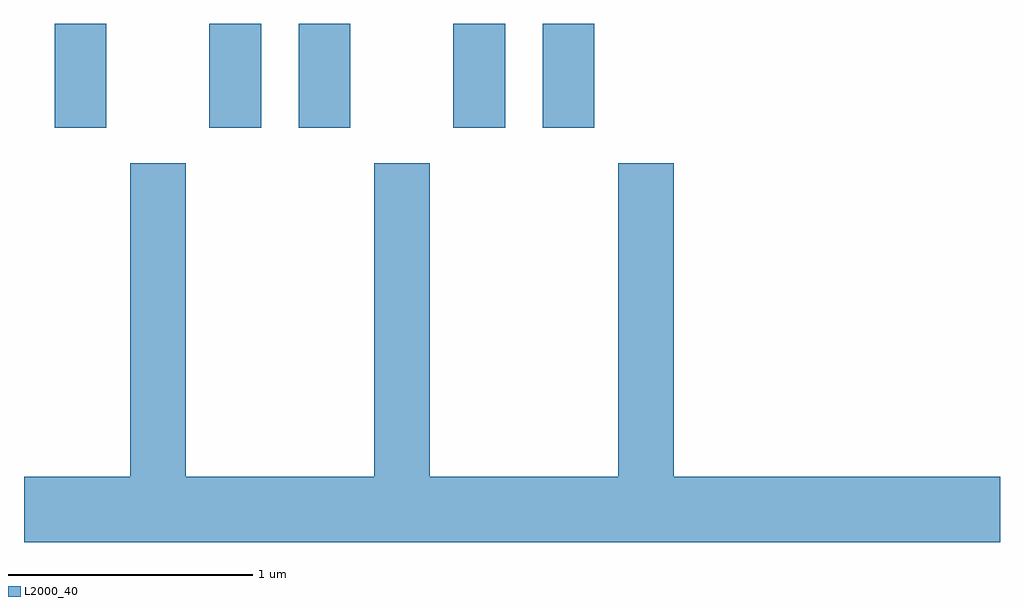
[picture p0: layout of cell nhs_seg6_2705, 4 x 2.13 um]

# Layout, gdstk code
import gdstk
lib = gdstk.Library(unit=1e-6, precision=1e-09)
def R(c, l, rs):  # rectangles x0, y0, x1, y1
    for r in rs: c.add(gdstk.rectangle(r[:2], r[2:], *l))
def P(c, l, *ps):  # polygons
    for p in ps: c.add(gdstk.Polygon(p, *l))
L2000_40 = (2000, 40)

nhs_seg6_2705 = lib.new_cell('nhs_seg6_2705')
R(nhs_seg6_2705, L2000_40, [(267.736,1551.736,267.949,1552.162), (268.371,1551.736,268.584,1552.162), (268.736,1551.736,268.949,1552.162), (269.371,1551.736,269.584,1552.162), (269.736,1551.736,269.949,1552.162)])
P(nhs_seg6_2705, L2000_40, [(271.611,1550.304),(270.274,1550.304),(270.274,1551.589),(270.046,1551.589),(270.046,1550.304),(269.274,1550.304),(269.274,1551.589),(269.046,1551.589),(269.046,1550.304),(268.274,1550.304),(268.274,1551.589),(268.046,1551.589),(268.046,1550.304),(267.611,1550.304),(267.611,1550.036),(271.611,1550.036)])

lib.write_gds('nhs_seg6_2705.gds')
